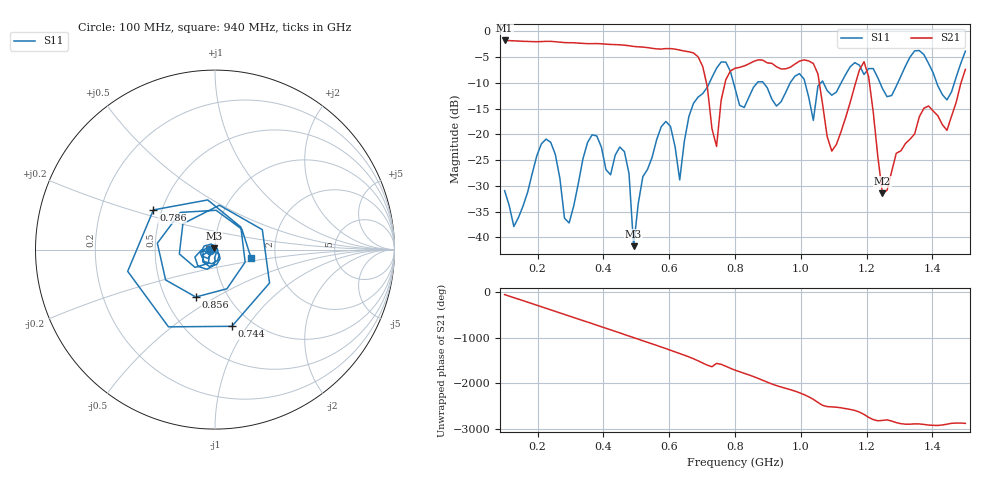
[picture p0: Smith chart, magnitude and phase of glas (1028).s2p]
! NanoVNA-App
! Date: 2025-09-25 16:03:28
! Start: 100MHz Stop: 1,5GHz Points: 101
! S-Parameter data: F S11 S21 S12 S22
# Hz S RI R 50
!  Frequency  S11_Real  S11_Imag  S21_Real  S21_Imag  S12_Real  S12_Imag  S22_Real  S22_Imag
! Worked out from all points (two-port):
!   101 points, 100 MHz to 1.5 GHz, reference 50 ohm
!   highest |S21| = -1.80 dB at 100 MHz (marker M1); lowest = -31.5 dB at 1.248 GHz (marker M2)
!   |S21| within 3 dB of the highest: start of sweep to 684.6 MHz
!   lowest |S11| = -41.7 dB at 492 MHz (marker M3), VSWR 1.02, Z = 49.5 + j0.627 ohm
!   |S11| at or under -10 dB: start of sweep to 722.4 MHz; 795.4 MHz to 867.6 MHz (72.19 MHz wide, 8.68 % of centre); 886.3 MHz to 967.7 MHz (81.46 MHz wide, 8.79 % of centre) (the widest 3 of 7)
!   S12 and S22 are empty: the file has one direction only
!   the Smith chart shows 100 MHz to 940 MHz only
!   S11 on the Smith chart (normalised r, x): 100 MHz: 0.94, -0.01; 744 MHz: 0.81, -0.85; 786 MHz: 0.45, +0.24; 856 MHz: 0.71, -0.41; 940 MHz: 1.50, -0.15
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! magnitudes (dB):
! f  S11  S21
! 100 MHz  -30.9  -1.8
! 128 MHz  -37.9  -1.9
! 226 MHz  -20.9  -2.0
! 296 MHz  -37.2  -2.2
! 338 MHz  -24.7  -2.4
! 464 MHz  -23.4  -2.7
! 492 MHz  -41.7  -3.0
! 576 MHz  -18.5  -3.5
! 632 MHz  -28.8  -3.7
! 702 MHz  -12.1  -6.9
! 744 MHz  -7.2  -22.4
! 786 MHz  -7.8  -7.7
! 800 MHz  -11.1  -7.2
! 856 MHz  -10.9  -5.9
! 940 MHz  -13.7  -7.3
! 996 MHz  -8.2  -5.8
! 1.038 GHz  -17.3  -6.3
! 1.094 GHz  -12.4  -23.2
! 1.192 GHz  -8.4  -5.9
! 1.248 GHz  -11.1  -31.5
! 1.276 GHz  -12.5  -27.2
! 1.5 GHz  -3.9  -7.4
